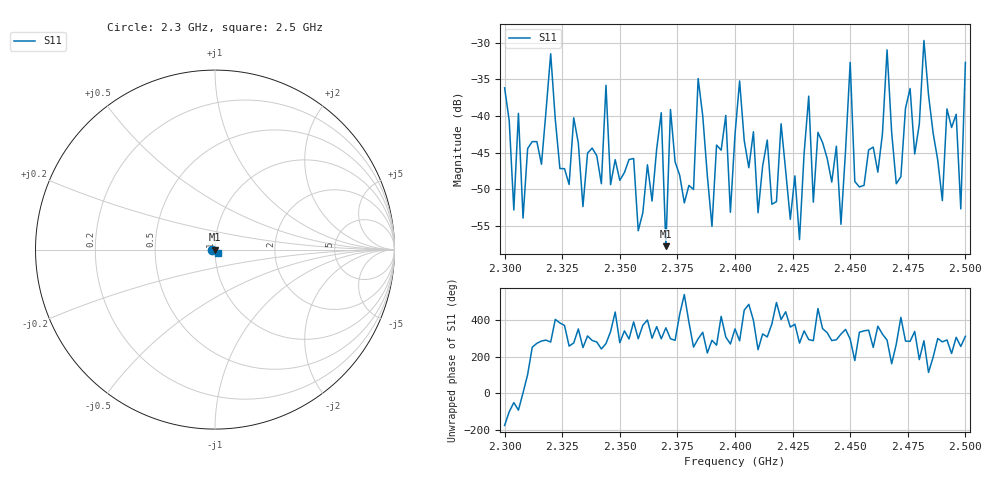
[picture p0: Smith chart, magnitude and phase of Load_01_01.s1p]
# HZ S RI R 50
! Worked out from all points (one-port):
!   101 points, 2.3 GHz to 2.5 GHz, reference 50 ohm
!   lowest |S11| = -57.7 dB at 2.37 GHz (marker M1), VSWR 1.00, Z = 50.1 - j0.000802 ohm
!   |S11| at or under -10 dB: start of sweep to end of sweep
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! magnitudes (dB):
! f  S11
! 2.3 GHz  -36.2
! 2.304 GHz  -52.8
! 2.32 GHz  -31.5
! 2.326 GHz  -47.2
! 2.342 GHz  -49.2
! 2.344 GHz  -35.8
! 2.35 GHz  -48.8
! 2.368 GHz  -39.6
! 2.37 GHz  -57.7
! 2.372 GHz  -39.1
! 2.376 GHz  -48.1
! 2.384 GHz  -34.9
! 2.4 GHz  -42.5
! 2.426 GHz  -48.2
! 2.428 GHz  -56.8
! 2.432 GHz  -37.3
! 2.434 GHz  -51.7
! 2.446 GHz  -54.8
! 2.45 GHz  -32.7
! 2.454 GHz  -49.7
! 2.466 GHz  -31.0
! 2.47 GHz  -49.2
! 2.476 GHz  -36.3
! 2.482 GHz  -29.7
! 2.49 GHz  -51.5
! 2.496 GHz  -39.8
! 2.498 GHz  -52.7
! 2.5 GHz  -32.7
